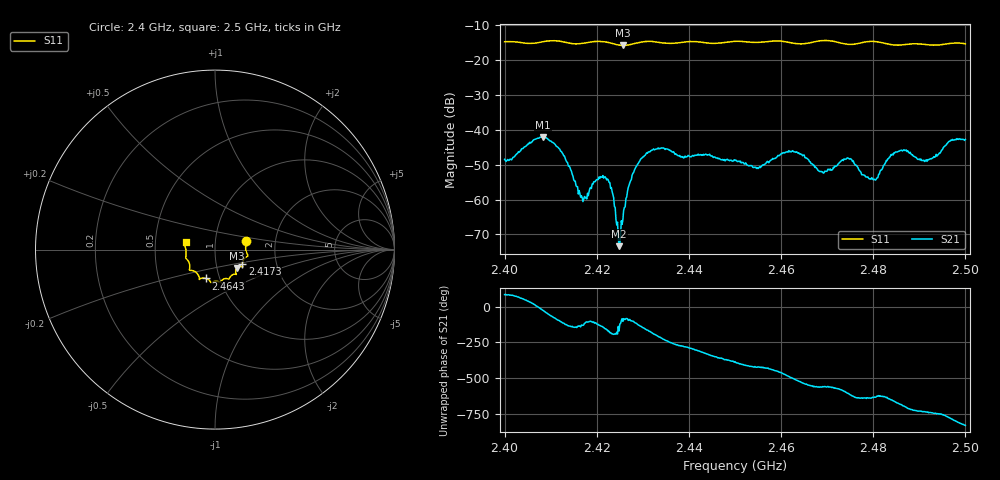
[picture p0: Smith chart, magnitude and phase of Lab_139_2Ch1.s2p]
# Hz S RI R 50
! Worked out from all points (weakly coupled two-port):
!   601 points, 2.4 GHz to 2.5 GHz, reference 50 ohm
!   highest |S21| = -42.13 dB at 2.4083 GHz (marker M1); lowest = -73.3 dB at 2.4248 GHz (marker M2)
!   lowest |S11| = -15.9 dB at 2.4257 GHz (marker M3), VSWR 1.38, Z = 62.5 - j13.1 ohm
!   |S11| at or under -10 dB: start of sweep to end of sweep
!   S12 and S22 are empty: the file has one direction only
!   S11 on the Smith chart (normalised r, x): 2.4 GHz: 1.41, +0.14; 2.4173 GHz: 1.34, -0.23; 2.4643 GHz: 0.86, -0.28; 2.5 GHz: 0.72, +0.06
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2.4e9  0.1733 0.0493  0.00022 0.00374  0 0  0 0
2.408333e9  0.1794 -0.0236  0.00714 -0.00319  0 0  0 0
2.4125e9  0.177 -0.0383  -0.0016 -0.00435  0 0  0 0
2.416667e9  0.153 -0.0747  -0.000684 -0.000904  0 0  0 0
2.417333e9  0.1522 -0.0819  -0.000466 -0.001  0 0  0 0
2.422167e9  0.1507 -0.0947  -0.00181 -0.000604  0 0  0 0
2.423167e9  0.144 -0.0938  -0.00147 0.000193  0 0  0 0
2.424833e9  0.1293 -0.0971  -0.000211 -4.11e-05  0 0  0 0
2.425667e9  0.1229 -0.1022  -0.000101 -0.000502  0 0  0 0
2.428333e9  0.1151 -0.1265  -0.00103 -0.00258  0 0  0 0
2.433333e9  0.1128 -0.1368  -0.00485 0.00253  0 0  0 0
2.45e9  0.0293 -0.1808  0.00329 -0.00146  0 0  0 0
2.455167e9  0.000476 -0.1767  0.00133 -0.00251  0 0  0 0
2.464333e9  -0.0499 -0.1606  -0.00434 -0.000787  0 0  0 0
2.466667e9  -0.0758 -0.1596  -0.00314 0.000864  0 0  0 0
2.469333e9  -0.0877 -0.1665  -0.00227 0.000814  0 0  0 0
2.474833e9  -0.1044 -0.1279  -0.000998 0.00365  0 0  0 0
2.480333e9  -0.1429 -0.1124  0.000143 0.00192  0 0  0 0
2.483333e9  -0.1404 -0.0899  0.00105 0.0037  0 0  0 0
2.486667e9  -0.1531 -0.0587  0.00474 0.00203  0 0  0 0
2.491667e9  -0.1613 -0.0288  0.00332 -0.00115  0 0  0 0
2.5e9  -0.1634 0.0421  -0.00284 -0.00663  0 0  0 0
